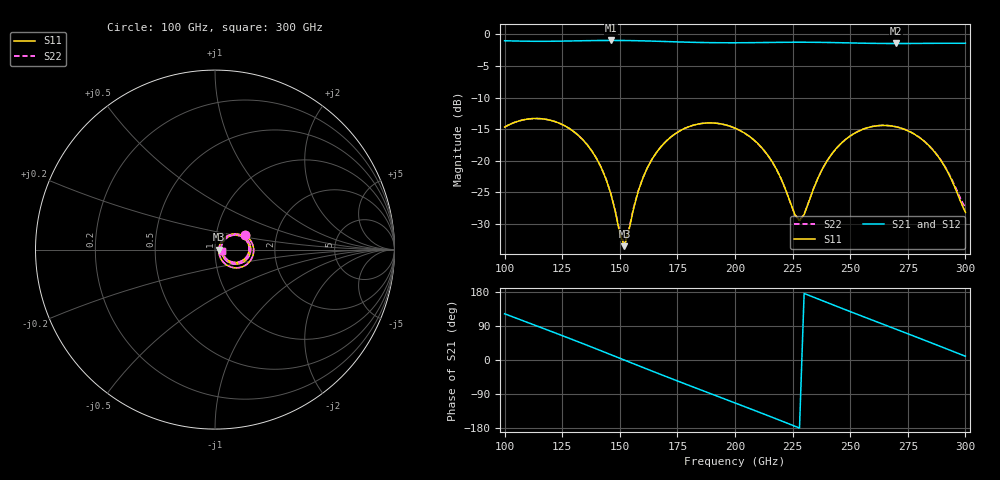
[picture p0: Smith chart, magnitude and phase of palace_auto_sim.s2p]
#  GHZ S DB R 50
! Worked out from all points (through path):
!   101 points, 100 GHz to 300 GHz, reference 50 ohm
!   highest |S21| = -0.95 dB at 146 GHz (marker M1); lowest = -1.4 dB at 270 GHz (marker M2)
!   group delay of S21, straight-line fit = 6.57 ps
!   lowest |S11| = -33.6 dB at 152 GHz (marker M3), VSWR 1.04, Z = 52.1 + j0.0308 ohm
!   |S11| at or under -10 dB: start of sweep to end of sweep
!   |S22| runs from -33.2 to -13.3 dB; largest |S21 - S12| = 1e-13
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100  -14.69 25.8  -0.99 122.0  -0.99 122.0  -14.69 25.7
110  -13.42 5.2  -1.07 99.0  -1.07 99.0  -13.41 5.2
118  -13.46 -11.4  -1.08 80.6  -1.08 80.6  -13.46 -11.5
134  -16.71 -43.8  -0.99 43.2  -0.99 43.2  -16.71 -43.7
140  -19.73 -53.9  -0.96 28.8  -0.96 28.8  -19.72 -53.6
146  -25.14 -57.1  -0.95 14.3  -0.95 14.3  -25.09 -56.4
152  -33.58 0.8  -0.96 -0.2  -0.96 -0.2  -33.18 0.5
160  -22.78 52.2  -1.01 -19.6  -1.01 -19.6  -22.74 51.2
168  -17.75 41.9  -1.09 -38.7  -1.09 -38.7  -17.74 41.2
184  -14.20 11.3  -1.26 -76.2  -1.26 -76.2  -14.21 10.8
200  -14.85 -19.3  -1.31 -113.3  -1.31 -113.3  -14.86 -19.8
214  -19.03 -41.5  -1.27 -146.1  -1.27 -146.1  -19.05 -41.8
228  -29.50 0.9  -1.23 -179.5  -1.23 -179.5  -29.47 1.1
234  -24.57 42.8  -1.24 166.0  -1.24 166.0  -24.52 42.5
240  -20.03 44.3  -1.27 151.6  -1.27 151.6  -20.01 43.9
248  -16.65 33.3  -1.32 132.5  -1.32 132.5  -16.63 33.0
258  -14.74 14.9  -1.39 109.0  -1.39 109.0  -14.73 14.7
268  -14.51 -4.4  -1.43 85.7  -1.43 85.7  -14.50 -4.5
270  -14.65 -8.2  -1.43 81.0  -1.43 81.0  -14.64 -8.3
286  -18.35 -35.5  -1.40 43.3  -1.40 43.3  -18.30 -34.9
292  -21.59 -40.0  -1.39 29.0  -1.39 29.0  -21.47 -38.8
300  -28.22 -14.9  -1.39 9.9  -1.39 9.9  -27.53 -13.5
